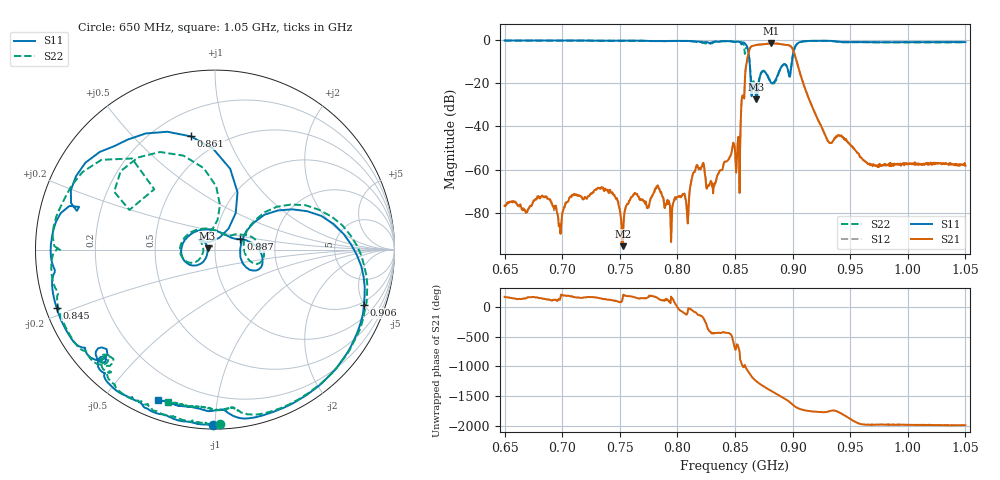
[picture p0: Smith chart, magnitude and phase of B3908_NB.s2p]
! Matrix data file written by TouchstoneData, EPCOS AG
! FILENAME: "B3908.NB.s2p_newformat"
! COMMENT: "(B3908.NB.s2p)"
! INFO: nport=2, nfreq=801
! DATE: "Thu Apr 29 09:36:48 2010"
! USER: "Michael Schemies"
! port | pin | signal
!  1  |  2  |  in
!  2  |  5  |  out
# MHZ S MA R 50
! freq  magS11 angS11  magS21 angS21  magS12 angS12  magS22 angS22
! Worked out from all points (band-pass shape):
!   801 points, 650 MHz to 1.05 GHz, reference 50 ohm
!   highest |S21| = -1.59 dB at 881.5 MHz (marker M1); lowest = -95.5 dB at 752.5 MHz (marker M2)
!   |S21| within 3 dB of the highest: 862.4 MHz to 900.3 MHz (37.92 MHz wide, 4.3 % of centre)
!   lowest |S11| = -27.5 dB at 868.5 MHz (marker M3), VSWR 1.09, Z = 46 + j0.66 ohm
!   |S11| at or under -10 dB: 862.6 MHz to 899.4 MHz (36.76 MHz wide, 4.17 % of centre)
!   |S22| runs from -23.6 to -0.2 dB; largest |S21 - S12| = 0.0047
!   S11 on the Smith chart (normalised r, x): 650 MHz: 0.02, -0.99; 845 MHz: 0.03, -0.18; 861 MHz: 0.35, +0.75; 887 MHz: 1.32, +0.16; 906 MHz: 1.74, -4.96; 1.05 GHz: 0.08, -0.68
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650  0.976 -90.8  0.0001454 174.1  0.000145 174.5  0.9701 -88.4
717  0.9736 -101.8  0.0002246 156.0  0.0002262 155.7  0.9686 -99.1
752.5  0.9668 -108.7  1.682e-05 156.5  1.711e-05 176.2  0.9611 -105.9
783.5  0.9476 -117.2  0.0003858 144.7  0.000389 145.8  0.9468 -114.2
808.5  0.953 -128.2  8.933e-05 -109.1  8.264e-05 -112.7  0.948 -125.4
816  0.9258 -132.3  0.001102 -88.5  0.001109 -88.7  0.9172 -130.9
831.5  0.9117 -138.1  0.0004568 -77.0  0.0004525 -76.4  0.886 -133.9
845  0.9402 -159.9  0.001854 -78.7  0.001847 -78.7  0.9344 -157.1
850  0.8995 -172.7  0.002766 16.5  0.002764 16.1  0.9208 -169.8
852.5  0.9148 178.2  0.004682 74.7  0.004674 74.6  0.878 179.6
861  0.6449 102.0  0.4026 8.2  0.4019 8.3  0.624 119.4
865  0.07151 144.8  0.727 -104.8  0.7256 -104.8  0.09827 138.9
868.5  0.04235 170.3  0.7692 -169.2  0.7678 -169.3  0.06614 172.6
875  0.1894 -178.4  0.7989 101.5  0.7975 101.6  0.1951 176.9
881.5  0.1014 78.0  0.8326 25.9  0.831 25.9  0.1037 84.8
887  0.1532 22.6  0.8273 -35.2  0.8258 -35.2  0.146 36.0
897.5  0.1404 0.4  0.7447 -161.8  0.7434 -161.4  0.16 6.1
906  0.8853 -20.4  0.1875 84.0  0.1873 84.0  0.8827 -16.4
917  0.9573 -57.4  0.02847 39.9  0.02845 40.0  0.9511 -53.3
932  0.9585 -78.6  0.004202 44.1  0.004201 44.1  0.9496 -74.8
983.5  0.8873 -99.2  0.001236 -177.6  0.001235 -177.5  0.8802 -95.4
1050  0.8945 -111.0  0.001219 166.6  0.001216 166.5  0.8875 -107.1
